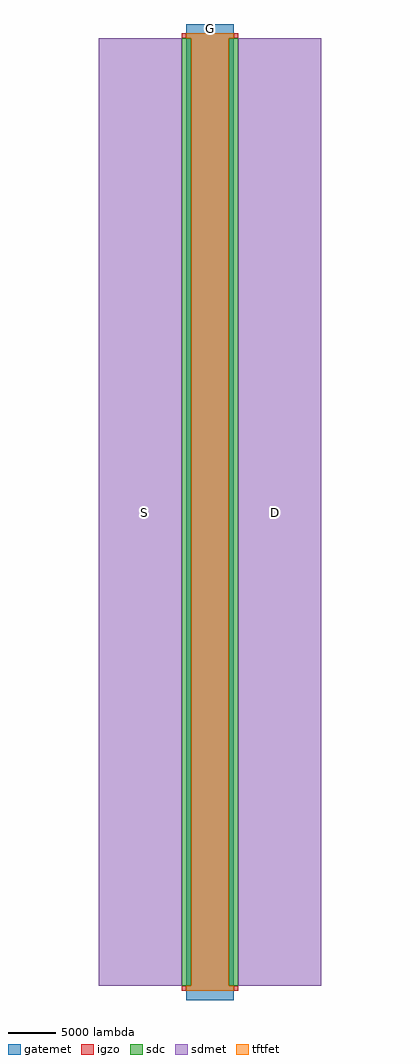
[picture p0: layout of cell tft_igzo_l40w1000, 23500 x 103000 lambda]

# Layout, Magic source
magic
tech igzo_mmm_lab
<< igzo >>
rect -3000 50000 -2500 50500
rect 2500 50000 3000 50500
rect -3000 -50500 -2500 -50000
rect 2500 -50500 3000 -50000
<< tftfet >>
rect -2500 50000 2500 50500
rect -2000 -50000 2000 50000
rect -2500 -50500 2500 -50000
<< sdc >>
rect -3000 -50000 -2000 50000
rect 2000 -50000 3000 50000
<< sdmet >>
rect -11750 -50000 -3000 50000
rect 3000 -50000 11750 50000
<< gatemet >>
rect -2500 -51500 2500 51500
<< labels >>
rlabel sdmet s -7363 -488 -6387 488 4 S
port 3 nsew
rlabel sdmet s 6387 -488 7363 488 4 D
port 5 nsew
rlabel gatemet s -488 50512 488 51488 4 G
port 7 nsew
<< end >>
